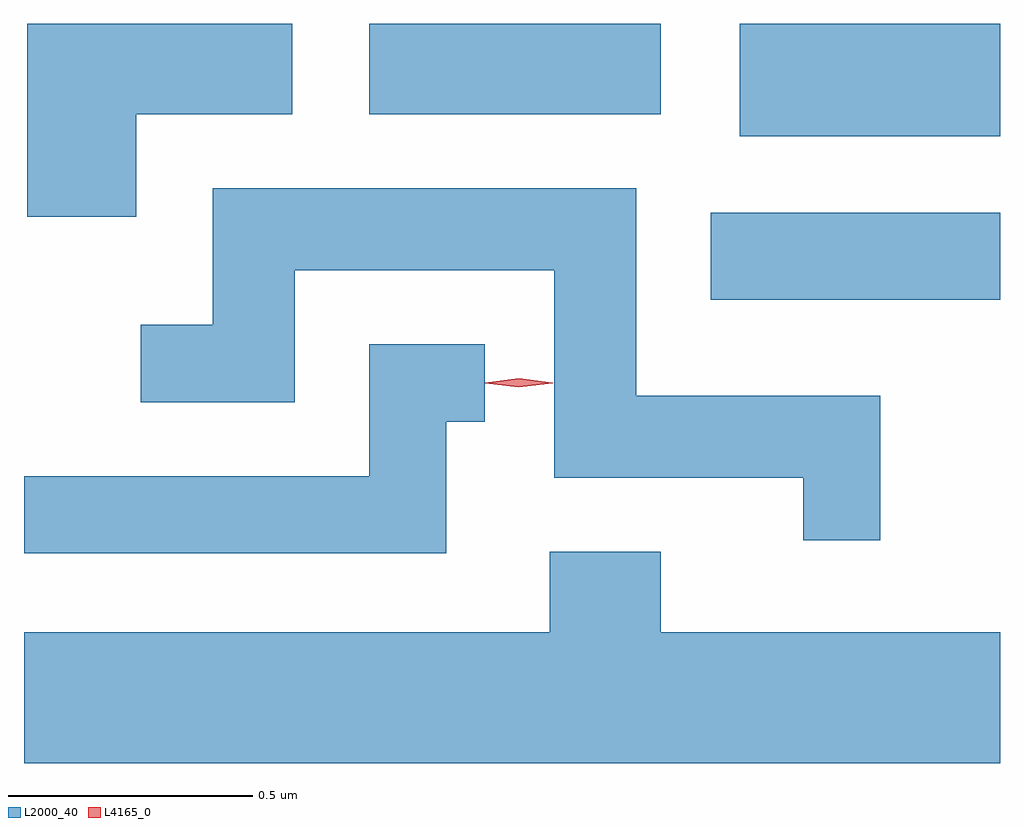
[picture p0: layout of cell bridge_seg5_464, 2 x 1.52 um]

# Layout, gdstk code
import gdstk
lib = gdstk.Library(unit=1e-6, precision=1e-09)
def R(c, l, rs):  # rectangles x0, y0, x1, y1
    for r in rs: c.add(gdstk.rectangle(r[:2], r[2:], *l))
def P(c, l, *ps):  # polygons
    for p in ps: c.add(gdstk.Polygon(p, *l))
L2000_40 = (2000, 40)
L4165_0 = (4165, 0)

bridge_seg5_464 = lib.new_cell('bridge_seg5_464')
R(bridge_seg5_464, L2000_40, [(377.701,1506.586,378.294,1506.764), (377.761,1506.921,378.294,1507.151), (377.001,1506.966,377.599,1507.151)])
P(bridge_seg5_464, L2000_40, [(376.524,1506.966),(376.844,1506.966),(376.844,1507.151),(376.301,1507.151),(376.301,1506.756),(376.524,1506.756)],
  [(378.049,1506.389),(377.549,1506.389),(377.549,1506.814),(376.681,1506.814),(376.681,1506.534),(376.533,1506.534),(376.533,1506.376),(376.849,1506.376),(376.849,1506.646),(377.381,1506.646),(377.381,1506.221),(377.891,1506.221),(377.891,1506.093),(378.049,1506.093)],
  [(377.159,1506.336),(377.238,1506.336),(377.238,1506.494),(377.001,1506.494),(377.001,1506.224),(376.294,1506.224),(376.294,1506.066),(377.159,1506.066)],
  [(378.294,1505.904),(377.599,1505.904),(377.599,1506.069),(377.371,1506.069),(377.371,1505.904),(376.294,1505.904),(376.294,1505.636),(378.294,1505.636)])
P(bridge_seg5_464, L4165_0, [(377.308,1506.406),(377.239,1506.414),(377.239,1506.415),(377.239,1506.416),(377.308,1506.425),(377.378,1506.416),(377.378,1506.416),(377.378,1506.415)])

lib.write_gds('bridge_seg5_464.gds')
